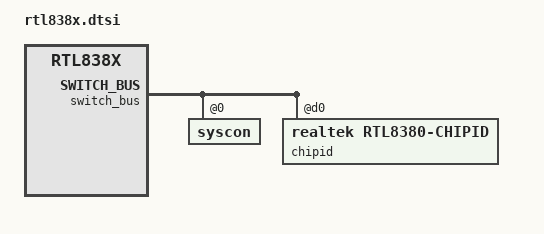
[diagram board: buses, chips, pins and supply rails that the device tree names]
// SPDX-License-Identifier: GPL-2.0-or-later OR BSD-2-Clause

/ {
	cpus {
		#address-cells = <1>;
		#size-cells = <0>;

		cpu@0 {
			compatible = "mips,mips4KEc";
			reg = <0>;
			clocks = <&baseclk 0>;
			clock-names = "cpu";
		};
	};

	baseclk: baseclk {
		compatible = "fixed-clock";
		#clock-cells = <0>;
		clock-frequency = <500000000>;
	};
};

&switch_bus {
	syscon@0 {
		compatible = "syscon", "simple-mfd";
		reg = <0x0 0x1028>;

		sysreset@40 {
			compatible = "syscon-reboot";
			offset = <0x40>;
			mask = <0x1>;
		};

	};

	chipid@d0 {
		compatible = "realtek,rtl8380-chipid";
		reg = <0xd0 0x10>;
	};
};
